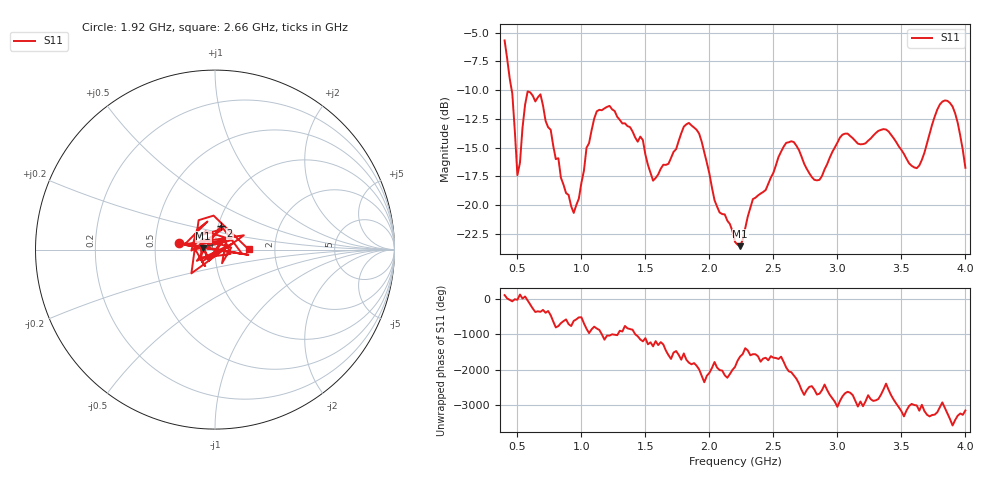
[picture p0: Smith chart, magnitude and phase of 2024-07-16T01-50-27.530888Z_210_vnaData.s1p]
!Created with skrf (http://scikit-rf.org).
# Hz S RI R 50.0
!freq ReS11 ImS11
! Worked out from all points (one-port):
!   181 points, 400 MHz to 4 GHz, reference 50 ohm
!   lowest |S11| = -23.6 dB at 2.24 GHz (marker M1), VSWR 1.14, Z = 43.8 + j0.609 ohm
!   |S11| at or under -10 dB: 455.4 MHz to end of sweep
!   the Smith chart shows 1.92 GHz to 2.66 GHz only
!   S11 on the Smith chart (normalised r, x): 1.92 GHz: 0.66, +0.05; 2 GHz: 1.03, +0.28; 2.66 GHz: 1.46, +0.00
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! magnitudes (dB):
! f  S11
! 400 MHz  -5.7
! 460 MHz  -10.3
! 500 MHz  -17.4
! 580 MHz  -10.1
! 680 MHz  -10.4
! 860 MHz  -18.2
! 940 MHz  -20.7
! 1.12 GHz  -11.8
! 1.3 GHz  -12.6
! 1.48 GHz  -14.3
! 1.56 GHz  -17.9
! 1.76 GHz  -14.4
! 1.84 GHz  -12.9
! 1.92 GHz  -13.8
! 2 GHz  -17.3
! 2.04 GHz  -19.6
! 2.2 GHz  -23.2
! 2.24 GHz  -23.6
! 2.34 GHz  -19.5
! 2.66 GHz  -14.5
! 2.84 GHz  -17.8
! 3.1 GHz  -14.0
! 3.38 GHz  -13.4
! 3.56 GHz  -16.4
! 3.64 GHz  -16.6
! 3.84 GHz  -10.9
! 3.92 GHz  -12.0
! 4 GHz  -16.8
